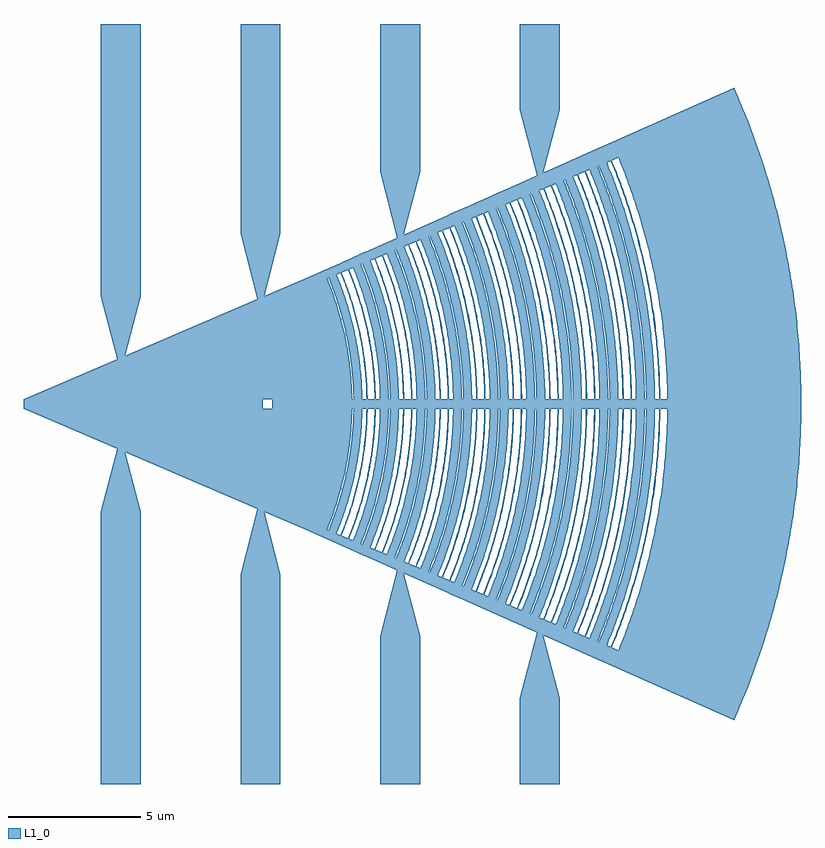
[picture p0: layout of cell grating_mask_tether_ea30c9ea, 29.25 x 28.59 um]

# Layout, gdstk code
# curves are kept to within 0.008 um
import gdstk
lib = gdstk.Library(unit=1e-6, precision=2e-09)
def R(c, l, rs):  # rectangles x0, y0, x1, y1
    for r in rs: c.add(gdstk.rectangle(r[:2], r[2:], *l))
def P(c, l, *ps):  # polygons
    for p in ps: c.add(gdstk.Polygon(p, *l))
L1_0 = (1, 0)

compass_size13p25__0p35_ = lib.new_cell('compass_size13p25__0p35_a60e96ef')
R(compass_size13p25__0p35_, L1_0, [(0,0,13.25,0.35)])

rectangle_size13p25__0p3 = lib.new_cell('rectangle_size13p25__0p35')
rectangle_size13p25__0p3.add(gdstk.Reference(compass_size13p25__0p35_, (0,0)))

boolean_14f7e336 = lib.new_cell('boolean_14f7e336')
P(boolean_14f7e336, L1_0, [(22.174,9.718),(22.5,8.938),(22.702,8.412),(23.068,7.348),(23.272,6.674),(23.456,5.994),(23.71,4.896),(23.934,3.648),(24.03,2.95),(24.092,2.39),(24.184,1.126),(24.204,0.564),(24.21,-0.14),(24.184,-1.126),(24.13,-1.97),(24.078,-2.53),(23.934,-3.648),(23.71,-4.896),(23.456,-5.994),(23.272,-6.674),(23.068,-7.348),(22.798,-8.148),(22.602,-8.676),(22.394,-9.2),(22.116,-9.846),(26.72,-11.896),(27.184,-10.8),(27.544,-9.844),(27.922,-8.714),(28.254,-7.57),(28.538,-6.414),(28.776,-5.246),(28.966,-4.07),(29.072,-3.226),(29.19,-1.87),(29.238,-0.85),(29.25,0.17),(29.226,1.19),(29.166,2.21),(29.124,2.718),(29.032,3.564),(28.89,4.576),(28.776,5.246),(28.646,5.914),(28.462,6.746),(28.254,7.57),(28.07,8.226),(27.766,9.2),(27.308,10.482),(27.056,11.114),(26.72,11.896),(22.116,9.846)],
  [(21.93,-9.612),(22.148,-9.098),(22.404,-8.45),(22.594,-7.928),(22.772,-7.4),(22.978,-6.734),(23.128,-6.198),(23.266,-5.658),(23.45,-4.842),(23.556,-4.294),(23.65,-3.746),(23.766,-2.918),(23.828,-2.364),(23.876,-1.81),(23.912,-1.254),(23.938,-0.558),(23.944,0.14),(23.93,0.836),(23.904,1.392),(23.876,1.81),(23.798,2.642),(23.73,3.194),(23.628,3.884),(23.478,4.706),(23.392,5.114),(23.266,5.658),(23.092,6.332),(22.938,6.868),(22.772,7.4),(22.594,7.928),(22.404,8.45),(22.148,9.098),(21.874,9.738),(21.838,9.722),(22.164,8.954),(22.366,8.436),(22.602,7.782),(22.818,7.122),(22.94,6.722),(23.09,6.186),(23.26,5.512),(23.382,4.97),(23.516,4.288),(23.61,3.74),(23.726,2.914),(23.788,2.36),(23.836,1.806),(23.872,1.252),(23.894,0.696),(23.904,0.14),(23.898,-0.556),(23.872,-1.252),(23.836,-1.806),(23.788,-2.36),(23.726,-2.914),(23.652,-3.464),(23.588,-3.876),(23.438,-4.698),(23.292,-5.378),(23.16,-5.918),(23.054,-6.322),(22.86,-6.988),(22.602,-7.782),(22.366,-8.436),(22.164,-8.954),(21.838,-9.722),(21.874,-9.738)],
  [(21.748,-9.532),(22.168,-8.51),(22.406,-7.862),(22.626,-7.206),(22.972,-6.012),(23.168,-5.206),(23.282,-4.666),(23.408,-3.988),(23.494,-3.442),(23.568,-2.894),(23.642,-2.208),(23.688,-1.656),(23.726,-0.966),(23.744,0.276),(23.726,0.966),(23.688,1.656),(23.568,2.894),(23.408,3.988),(23.168,5.206),(22.9,6.278),(22.748,6.81),(22.54,7.468),(22.168,8.51),(21.692,9.658),(21.39,9.524),(21.86,8.392),(22.14,7.624),(22.352,6.976),(22.546,6.324),(22.72,5.664),(22.904,4.868),(23.036,4.2),(23.188,3.258),(23.314,2.176),(23.376,1.362),(23.414,0.272),(23.406,-0.682),(23.338,-1.904),(23.224,-2.988),(23.06,-4.066),(22.932,-4.734),(22.784,-5.4),(22.618,-6.06),(22.432,-6.716),(22.184,-7.494),(21.956,-8.136),(21.71,-8.772),(21.39,-9.524),(21.692,-9.658)],
  [(21.398,-9.378),(21.86,-8.246),(22.262,-7.09),(22.602,-5.916),(22.734,-5.388),(22.908,-4.592),(23.032,-3.922),(23.136,-3.252),(23.262,-2.172),(23.316,-1.494),(23.344,-0.952),(23.362,0.272),(23.316,1.494),(23.22,2.578),(23.076,3.654),(22.96,4.324),(22.824,4.99),(22.702,5.52),(22.532,6.178),(22.22,7.22),(21.812,8.372),(21.558,9.004),(21.342,9.502),(21.042,9.368),(21.306,8.752),(21.598,8.004),(21.822,7.372),(22.066,6.606),(22.248,5.962),(22.412,5.312),(22.558,4.658),(22.66,4.132),(22.79,3.338),(22.878,2.674),(22.934,2.14),(23.002,1.206),(23.032,0.268),(23.024,-0.67),(22.968,-1.74),(22.862,-2.806),(22.706,-3.868),(22.558,-4.658),(22.412,-5.312),(22.248,-5.962),(22.066,-6.606),(21.822,-7.372),(21.598,-8.004),(21.306,-8.752),(21.042,-9.368),(21.342,-9.502)],
  [(20.95,-9.182),(21.158,-8.692),(21.402,-8.072),(21.628,-7.446),(21.796,-6.942),(21.988,-6.304),(22.128,-5.792),(22.258,-5.276),(22.402,-4.626),(22.55,-3.84),(22.632,-3.316),(22.704,-2.788),(22.762,-2.258),(22.828,-1.462),(22.85,-1.064),(22.868,-0.532),(22.874,0.134),(22.86,0.798),(22.828,1.462),(22.786,1.994),(22.72,2.656),(22.652,3.184),(22.55,3.84),(22.428,4.496),(22.318,5.016),(22.194,5.534),(22.06,6.048),(21.836,6.814),(21.67,7.322),(21.494,7.824),(21.258,8.446),(21.056,8.938),(20.896,9.304),(20.86,9.288),(21.122,8.676),(21.318,8.182),(21.59,7.434),(21.836,6.676),(21.95,6.294),(22.124,5.652),(22.278,5.008),(22.362,4.618),(22.464,4.096),(22.574,3.44),(22.648,2.914),(22.722,2.254),(22.758,1.858),(22.796,1.328),(22.82,0.796),(22.834,0.132),(22.828,-0.532),(22.81,-1.062),(22.788,-1.46),(22.722,-2.254),(22.648,-2.914),(22.574,-3.44),(22.464,-4.096),(22.362,-4.618),(22.278,-5.008),(22.124,-5.652),(22.022,-6.038),(21.836,-6.676),(21.59,-7.434),(21.318,-8.182),(21.122,-8.676),(20.86,-9.288),(20.896,-9.304)],
  [(20.67,-9.06),(20.876,-8.576),(21.116,-7.966),(21.296,-7.472),(21.544,-6.724),(21.73,-6.094),(21.866,-5.588),(21.99,-5.076),(22.102,-4.564),(22.226,-3.918),(22.33,-3.27),(22.416,-2.62),(22.458,-2.228),(22.504,-1.706),(22.538,-1.182),(22.562,-0.526),(22.568,0.132),(22.55,0.918),(22.522,1.444),(22.494,1.836),(22.416,2.62),(22.33,3.27),(22.27,3.66),(22.154,4.306),(22.048,4.82),(21.93,5.332),(21.8,5.842),(21.658,6.346),(21.464,6.974),(21.296,7.472),(21.07,8.088),(20.876,8.576),(20.618,9.18),(20.58,9.164),(20.788,8.682),(21.032,8.074),(21.258,7.458),(21.506,6.712),(21.656,6.21),(21.794,5.704),(21.92,5.196),(22.036,4.684),(22.114,4.298),(22.23,3.654),(22.29,3.264),(22.376,2.616),(22.454,1.832),(22.498,1.18),(22.522,0.524),(22.528,0.132),(22.522,-0.524),(22.498,-1.18),(22.474,-1.572),(22.418,-2.224),(22.376,-2.616),(22.29,-3.264),(22.186,-3.912),(22.088,-4.428),(21.98,-4.94),(21.794,-5.704),(21.692,-6.084),(21.506,-6.712),(21.258,-7.458),(21.032,-8.074),(20.788,-8.682),(20.58,-9.164),(20.618,-9.18)],
  [(20.488,-8.98),(20.692,-8.5),(20.976,-7.772),(21.354,-6.664),(21.64,-5.664),(21.88,-4.65),(22.094,-3.5),(22.17,-2.984),(22.26,-2.208),(22.332,-1.3),(22.36,-0.65),(22.37,0),(22.36,0.65),(22.332,1.3),(22.26,2.208),(22.17,2.984),(22.094,3.5),(21.88,4.65),(21.736,5.286),(21.572,5.916),(21.43,6.416),(21.234,7.036),(20.884,8.016),(20.436,9.098),(20.134,8.964),(20.386,8.374),(20.666,7.658),(20.88,7.054),(21.076,6.444),(21.22,5.952),(21.416,5.208),(21.558,4.582),(21.682,3.954),(21.842,2.94),(21.956,1.92),(22.016,1.026),(22.04,0),(22.016,-1.026),(21.932,-2.176),(21.788,-3.322),(21.682,-3.954),(21.558,-4.582),(21.322,-5.58),(21,-6.688),(20.754,-7.418),(20.576,-7.898),(20.134,-8.964),(20.436,-9.098)],
  [(20.138,-8.826),(20.526,-7.88),(20.872,-6.916),(21.064,-6.306),(21.238,-5.69),(21.506,-4.572),(21.584,-4.196),(21.736,-3.314),(21.88,-2.172),(21.964,-1.024),(21.988,0),(21.964,1.024),(21.88,2.172),(21.736,3.314),(21.584,4.196),(21.48,4.696),(21.238,5.69),(21.064,6.306),(20.872,6.916),(20.662,7.52),(20.434,8.118),(20.086,8.942),(19.784,8.808),(20.174,7.878),(20.394,7.288),(20.598,6.692),(20.748,6.212),(20.952,5.484),(21.158,4.626),(21.35,3.636),(21.496,2.64),(21.596,1.636),(21.634,1.008),(21.656,0.252),(21.652,-0.504),(21.634,-1.008),(21.552,-2.138),(21.41,-3.264),(21.21,-4.38),(20.952,-5.484),(20.748,-6.212),(20.598,-6.692),(20.394,-7.288),(20.174,-7.878),(19.784,-8.808),(20.086,-8.942)],
  [(19.69,-8.63),(19.886,-8.17),(20.026,-7.82),(20.244,-7.236),(20.446,-6.644),(20.666,-5.926),(20.798,-5.444),(20.948,-4.836),(21.054,-4.348),(21.172,-3.734),(21.272,-3.116),(21.338,-2.62),(21.394,-2.122),(21.446,-1.5),(21.48,-0.876),(21.49,-0.626),(21.498,0.126),(21.49,0.626),(21.462,1.25),(21.394,2.122),(21.338,2.62),(21.234,3.362),(21.104,4.102),(21.002,4.592),(20.89,5.08),(20.766,5.564),(20.666,5.926),(20.446,6.644),(20.244,7.236),(20.026,7.82),(19.79,8.4),(19.64,8.744),(19.602,8.728),(19.896,8.038),(20.078,7.574),(20.33,6.868),(20.484,6.394),(20.694,5.674),(20.79,5.312),(20.88,4.948),(20.99,4.462),(21.088,3.972),(21.154,3.604),(21.25,2.986),(21.328,2.368),(21.366,1.994),(21.422,1.248),(21.452,0.5),(21.458,0.124),(21.452,-0.5),(21.44,-0.874),(21.406,-1.496),(21.366,-1.994),(21.328,-2.368),(21.232,-3.11),(21.154,-3.604),(21.04,-4.216),(20.936,-4.706),(20.79,-5.312),(20.694,-5.674),(20.484,-6.394),(20.33,-6.868),(20.078,-7.574),(19.896,-8.038),(19.602,-8.728),(19.64,-8.744)],
  [(19.41,-8.506),(19.65,-7.938),(19.828,-7.48),(19.998,-7.016),(20.156,-6.548),(20.372,-5.842),(20.47,-5.486),(20.622,-4.888),(20.73,-4.406),(20.826,-3.922),(20.932,-3.316),(21.002,-2.828),(21.076,-2.216),(21.132,-1.602),(21.164,-1.11),(21.19,-0.37),(21.192,0.124),(21.184,0.616),(21.164,1.11),(21.132,1.602),(21.076,2.216),(21.002,2.828),(20.932,3.316),(20.826,3.922),(20.73,4.406),(20.622,4.888),(20.47,5.486),(20.372,5.842),(20.156,6.548),(19.998,7.016),(19.74,7.71),(19.556,8.166),(19.36,8.62),(19.324,8.604),(19.566,8.038),(19.748,7.58),(19.96,7.002),(20.192,6.302),(20.4,5.594),(20.494,5.236),(20.638,4.638),(20.716,4.278),(20.81,3.794),(20.892,3.308),(20.964,2.822),(21.024,2.334),(21.072,1.844),(21.124,1.106),(21.144,0.616),(21.152,0.124),(21.144,-0.616),(21.124,-1.106),(21.072,-1.844),(21.024,-2.334),(20.964,-2.822),(20.892,-3.308),(20.81,-3.794),(20.716,-4.278),(20.638,-4.638),(20.494,-5.236),(20.4,-5.594),(20.192,-6.302),(19.96,-7.002),(19.748,-7.58),(19.566,-8.038),(19.324,-8.604),(19.36,-8.62)],
  [(19.228,-8.426),(19.418,-7.978),(19.686,-7.294),(20.004,-6.372),(20.31,-5.316),(20.56,-4.246),(20.716,-3.404),(20.866,-2.316),(20.958,-1.22),(20.988,-0.488),(20.994,0),(20.988,0.488),(20.958,1.22),(20.866,2.316),(20.716,3.404),(20.56,4.246),(20.31,5.316),(20.004,6.372),(19.642,7.41),(19.372,8.09),(19.178,8.538),(18.876,8.404),(19.248,7.518),(19.418,7.068),(19.652,6.386),(19.96,5.348),(20.212,4.296),(20.39,3.352),(20.538,2.28),(20.622,1.322),(20.658,0.48),(20.664,0),(20.658,-0.48),(20.622,-1.322),(20.538,-2.28),(20.39,-3.352),(20.212,-4.296),(19.96,-5.348),(19.652,-6.386),(19.418,-7.068),(19.248,-7.518),(18.876,-8.404),(19.178,-8.538)],
  [(18.878,-8.274),(19.242,-7.386),(19.64,-6.254),(19.94,-5.218),(20.186,-4.168),(20.358,-3.224),(20.486,-2.274),(20.576,-1.198),(20.606,-0.48),(20.612,0),(20.606,0.48),(20.576,1.198),(20.486,2.274),(20.358,3.224),(20.186,4.168),(19.94,5.218),(19.64,6.254),(19.242,7.386),(18.83,8.384),(18.528,8.25),(18.892,7.378),(19.252,6.38),(19.56,5.364),(19.814,4.332),(19.994,3.406),(20.158,2.238),(20.224,1.532),(20.254,1.062),(20.282,0),(20.254,-1.062),(20.224,-1.532),(20.158,-2.238),(19.994,-3.406),(19.814,-4.332),(19.56,-5.364),(19.252,-6.38),(18.892,-7.378),(18.528,-8.25),(18.83,-8.384)],
  [(18.43,-8.078),(18.568,-7.754),(18.828,-7.102),(19.026,-6.552),(19.244,-5.884),(19.406,-5.322),(19.496,-4.982),(19.658,-4.298),(19.73,-3.954),(19.796,-3.61),(19.91,-2.916),(20,-2.22),(20.036,-1.87),(20.074,-1.404),(20.106,-0.82),(20.12,-0.352),(20.122,0.118),(20.114,0.586),(20.088,1.17),(20.056,1.638),(20,2.22),(19.958,2.568),(19.856,3.264),(19.752,3.84),(19.658,4.298),(19.496,4.982),(19.406,5.322),(19.244,5.884),(19.138,6.218),(18.988,6.662),(18.786,7.212),(18.568,7.754),(18.382,8.184),(18.346,8.168),(18.532,7.74),(18.79,7.088),(18.95,6.648),(19.136,6.094),(19.272,5.648),(19.458,4.972),(19.644,4.176),(19.736,3.718),(19.798,3.372),(19.87,2.91),(19.96,2.216),(20.016,1.634),(20.048,1.168),(20.074,0.584),(20.082,0.116),(20.08,-0.35),(20.066,-0.818),(20.034,-1.4),(19.996,-1.866),(19.96,-2.216),(19.87,-2.91),(19.798,-3.372),(19.714,-3.832),(19.644,-4.176),(19.514,-4.744),(19.398,-5.198),(19.272,-5.648),(19.1,-6.206),(18.872,-6.868),(18.576,-7.632),(18.346,-8.168),(18.382,-8.184)],
  [(18.15,-7.954),(18.374,-7.424),(18.542,-6.994),(18.7,-6.56),(18.882,-6.014),(18.984,-5.684),(19.142,-5.128),(19.256,-4.682),(19.384,-4.12),(19.496,-3.554),(19.608,-2.872),(19.654,-2.53),(19.72,-1.956),(19.76,-1.498),(19.796,-0.922),(19.812,-0.462),(19.816,0.23),(19.796,0.922),(19.776,1.268),(19.74,1.728),(19.696,2.186),(19.64,2.644),(19.536,3.328),(19.452,3.782),(19.36,4.232),(19.256,4.682),(19.112,5.24),(18.984,5.684),(18.81,6.234),(18.7,6.56),(18.542,6.994),(18.374,7.424),(18.104,8.06),(18.066,8.044),(18.38,7.302),(18.504,6.98),(18.662,6.548),(18.844,6.002),(19.01,5.452),(19.132,5.008),(19.244,4.56),(19.368,4),(19.456,3.548),(19.514,3.208),(19.6,2.638),(19.656,2.182),(19.702,1.724),(19.736,1.264),(19.76,0.806),(19.776,0.23),(19.776,-0.23),(19.76,-0.806),(19.736,-1.264),(19.702,-1.724),(19.656,-2.182),(19.568,-2.866),(19.456,-3.548),(19.368,-4),(19.244,-4.56),(19.132,-5.008),(18.946,-5.672),(18.736,-6.33),(18.504,-6.98),(18.38,-7.302),(18.066,-8.044),(18.104,-8.06)],
  [(17.968,-7.874),(18.356,-6.924),(18.692,-5.954),(18.95,-5.078),(19.14,-4.302),(19.258,-3.744),(19.394,-2.956),(19.522,-1.936),(19.562,-1.482),(19.602,-0.798),(19.618,0.114),(19.578,1.254),(19.498,2.164),(19.358,3.182),(19.258,3.744),(19.14,4.302),(18.92,5.188),(18.658,6.062),(18.356,6.924),(17.922,7.98),(17.62,7.844),(18.046,6.808),(18.344,5.96),(18.63,4.992),(18.866,4.01),(19.05,3.018),(19.17,2.128),(19.248,1.234),(19.28,0.562),(19.288,0.112),(19.272,-0.786),(19.194,-1.904),(19.068,-2.906),(18.866,-4.01),(18.63,-4.992),(18.344,-5.96),(18.046,-6.808),(17.62,-7.844),(17.922,-7.98)],
  [(17.618,-7.722),(17.998,-6.788),(18.328,-5.838),(18.58,-4.978),(18.838,-3.89),(19.016,-2.898),(19.142,-1.9),(19.22,-0.784),(19.236,0),(19.228,0.56),(19.196,1.23),(19.106,2.234),(18.944,3.34),(18.792,4.108),(18.58,4.978),(18.294,5.944),(17.958,6.894),(17.572,7.824),(17.27,7.69),(17.65,6.776),(17.946,5.946),(18.112,5.422),(18.262,4.892),(18.47,4.038),(18.656,3.066),(18.79,2.086),(18.874,1.1),(18.906,0.11),(18.88,-0.99),(18.802,-1.976),(18.656,-3.066),(18.47,-4.038),(18.262,-4.892),(18.112,-5.422),(17.946,-5.946),(17.65,-6.776),(17.27,-7.69),(17.572,-7.824)],
  [(17.17,-7.526),(17.382,-7.022),(17.502,-6.718),(17.726,-6.104),(17.896,-5.586),(18.02,-5.168),(18.136,-4.746),(18.242,-4.324),(18.36,-3.79),(18.462,-3.256),(18.516,-2.932),(18.62,-2.176),(18.666,-1.742),(18.708,-1.198),(18.726,-0.872),(18.744,-0.328),(18.746,0.218),(18.726,0.872),(18.708,1.198),(18.676,1.634),(18.62,2.176),(18.564,2.608),(18.462,3.256),(18.314,4.004),(18.242,4.324),(18.08,4.958),(17.862,5.69),(17.726,6.104),(17.502,6.718),(17.34,7.124),(17.126,7.624),(17.09,7.608),(17.304,7.108),(17.464,6.704),(17.652,6.194),(17.824,5.678),(18.012,5.052),(18.124,4.632),(18.298,3.89),(18.422,3.248),(18.476,2.926),(18.54,2.496),(18.58,2.172),(18.636,1.63),(18.668,1.196),(18.686,0.87),(18.706,0.218),(18.702,-0.436),(18.686,-0.87),(18.668,-1.196),(18.626,-1.738),(18.54,-2.496),(18.44,-3.142),(18.342,-3.676),(18.252,-4.102),(18.124,-4.632),(18.012,-5.052),(17.92,-5.366),(17.824,-5.678),(17.616,-6.296),(17.464,-6.704),(17.304,-7.108),(17.09,-7.608),(17.126,-7.624)],
  [(16.89,-7.402),(17.058,-7.008),(17.292,-6.408),(17.436,-6.004),(17.604,-5.494),(17.756,-4.98),(17.84,-4.67),(17.944,-4.252),(18.06,-3.728),(18.142,-3.308),(18.214,-2.884),(18.304,-2.248),(18.34,-1.928),(18.38,-1.5),(18.416,-0.966),(18.436,-0.43),(18.44,0.214),(18.426,0.75),(18.396,1.286),(18.34,1.928),(18.304,2.248),(18.214,2.884),(18.142,3.308),(18.016,3.938),(17.918,4.358),(17.756,4.98),(17.538,5.698),(17.4,6.106),(17.216,6.608),(17.058,7.008),(16.846,7.5),(16.81,7.484),(16.98,7.09),(17.14,6.694),(17.328,6.192),(17.5,5.686),(17.628,5.278),(17.746,4.866),(17.88,4.348),(17.976,3.93),(18.042,3.616),(18.14,3.09),(18.222,2.56),(18.264,2.242),(18.3,1.924),(18.356,1.284),(18.386,0.75),(18.4,0.214),(18.4,-0.214),(18.39,-0.642),(18.37,-1.07),(18.34,-1.498),(18.3,-1.924),(18.222,-2.56),(18.14,-3.09),(18.042,-3.616),(17.88,-4.348),(17.746,-4.866),(17.628,-5.278),(17.432,-5.89),(17.254,-6.394),(17.02,-6.992),(16.81,-7.484),(16.846,-7.5)],
  [(16.708,-7.322),(17.068,-6.438),(17.382,-5.536),(17.648,-4.618),(17.886,-3.584),(18.034,-2.748),(18.142,-1.906),(18.182,-1.484),(18.222,-0.848),(18.242,0.106),(18.198,1.272),(18.106,2.224),(17.946,3.272),(17.798,4),(17.564,4.926),(17.316,5.738),(17.03,6.538),(16.664,7.42),(16.362,7.286),(16.646,6.614),(16.97,5.732),(17.218,4.938),(17.476,3.928),(17.622,3.212),(17.692,2.802),(17.814,1.872),(17.888,0.938),(17.912,0.104),(17.888,-0.938),(17.814,-1.872),(17.708,-2.7),(17.542,-3.622),(17.302,-4.636),(17.066,-5.436),(16.76,-6.322),(16.362,-7.286),(16.664,-7.42)],
  [(16.358,-7.17),(16.674,-6.4),(17.018,-5.42),(17.278,-4.522),(17.47,-3.714),(17.624,-2.896),(17.762,-1.866),(17.836,-0.934),(17.86,0.104),(17.836,0.934),(17.762,1.866),(17.624,2.896),(17.47,3.714),(17.278,4.522),(17.018,5.42),(16.674,6.4),(16.316,7.264),(16.014,7.13),(16.366,6.282),(16.672,5.416),(16.906,4.636),(17.034,4.142),(17.168,3.544),(17.33,2.642),(17.434,1.832),(17.506,0.918),(17.53,0.102),(17.506,-0.918),(17.434,-1.832),(17.33,-2.642),(17.168,-3.544),(17.034,-4.142),(16.906,-4.636),(16.672,-5.416),(16.366,-6.282),(16.014,-7.13),(16.316,-7.264)],
  [(15.91,-6.972),(16.144,-6.414),(16.288,-6.036),(16.392,-5.75),(16.552,-5.272),(16.67,-4.886),(16.83,-4.3),(16.926,-3.908),(17.032,-3.414),(17.124,-2.916),(17.188,-2.518),(17.254,-2.016),(17.296,-1.614),(17.336,-1.11),(17.352,-0.808),(17.37,-0.202),(17.37,0.202),(17.364,0.506),(17.336,1.11),(17.296,1.614),(17.254,2.016),(17.188,2.518),(17.124,2.916),(17.052,3.314),(16.97,3.71),(16.83,4.3),(16.752,4.594),(16.552,5.272),(16.392,5.75),(16.216,6.226),(16.068,6.6),(15.868,7.066),(15.832,7.048),(16.03,6.586),(16.216,6.116),(16.354,5.738),(16.514,5.26),(16.632,4.874),(16.792,4.29),(16.952,3.604),(17.032,3.208),(17.118,2.712),(17.214,2.012),(17.256,1.61),(17.302,1.008),(17.324,0.504),(17.33,0.202),(17.33,-0.202),(17.312,-0.806),(17.302,-1.008),(17.256,-1.61),(17.214,-2.012),(17.148,-2.512),(17.032,-3.208),(16.952,-3.604),(16.864,-3.996),(16.792,-4.29),(16.632,-4.874),(16.514,-5.26),(16.286,-5.928),(16.03,-6.586),(15.832,-7.048),(15.868,-7.066)],
  [(15.63,-6.85),(15.86,-6.3),(16.002,-5.93),(16.168,-5.462),(16.32,-4.99),(16.458,-4.512),(16.582,-4.032),(16.65,-3.742),(16.752,-3.256),(16.87,-2.572),(16.926,-2.178),(17,-1.488),(17.042,-0.894),(17.058,-0.496),(17.064,0.198),(17.042,0.894),(17.024,1.19),(16.982,1.684),(16.95,1.982),(16.87,2.572),(16.806,2.964),(16.752,3.256),(16.65,3.742),(16.582,4.032),(16.458,4.512),(16.32,4.99),(16.168,5.462),(15.932,6.116),(15.67,6.76),(15.59,6.94),(15.552,6.924),(15.748,6.47),(15.93,6.008),(16.098,5.542),(16.252,5.072),(16.366,4.692),(16.47,4.31),(16.632,3.636),(16.712,3.248),(16.8,2.762),(16.91,1.976),(16.942,1.68),(16.984,1.188),(17.01,0.694),(17.024,0.198),(17.018,-0.496),(17.002,-0.89),(16.96,-1.484),(16.886,-2.174),(16.816,-2.664),(16.712,-3.248),(16.566,-3.926),(16.47,-4.31),(16.31,-4.882),(16.13,-5.448),(15.93,-6.008),(15.748,-6.47),(15.552,-6.924),(15.59,-6.94)],
  [(15.448,-6.77),(15.746,-6.044),(16.1,-5.024),(16.316,-4.27),(16.518,-3.41),(16.674,-2.542),(16.784,-1.666),(16.848,-0.784),(16.866,0.098),(16.838,0.98),(16.774,1.762),(16.674,2.542),(16.498,3.506),(16.266,4.46),(16.01,5.306),(15.746,6.044),(15.408,6.86),(15.106,6.726),(15.438,5.926),(15.696,5.202),(15.922,4.466),(16.134,3.626),(16.232,3.156),(16.332,2.586),(16.446,1.728),(16.514,0.866),(16.536,0.096),(16.514,-0.866),(16.446,-1.728),(16.362,-2.396),(16.214,-3.25),(16.09,-3.814),(15.972,-4.28),(15.756,-5.018),(15.438,-5.926),(15.106,-6.726),(15.408,-6.86)],
  [(15.098,-6.616),(15.32,-6.086),(15.49,-5.638),(15.736,-4.912),(15.922,-4.266),(16.124,-3.428),(16.296,-2.484),(16.404,-1.628),(16.462,-0.862),(16.484,0.096),(16.462,0.862),(16.394,1.724),(16.266,2.674),(16.124,3.428),(15.922,4.266),(15.736,4.912),(15.554,5.458),(15.388,5.908),(15.058,6.704),(14.758,6.57),(15.114,5.702),(15.364,4.992),(15.628,4.09),(15.82,3.266),(15.97,2.434),(16.066,1.688),(16.132,0.846),(16.154,0.094),(16.132,-0.846),(16.066,-1.688),(15.97,-2.434),(15.82,-3.266),(15.628,-4.09),(15.364,-4.992),(15.114,-5.702),(14.758,-6.57),(15.058,-6.704)],
  [(14.65,-6.42),(14.76,-6.164),(14.966,-5.646),(15.124,-5.208),(15.212,-4.942),(15.35,-4.498),(15.426,-4.23),(15.542,-3.78),(15.646,-3.326),(15.736,-2.87),(15.798,-2.502),(15.852,-2.134),(15.908,-1.672),(15.95,-1.208),(15.978,-0.744),(15.994,-0.186),(15.994,0.186),(15.986,0.558),(15.968,0.93),(15.95,1.208),(15.898,1.764),(15.852,2.134),(15.798,2.502),(15.736,2.87),(15.646,3.326),(15.542,3.78),(15.426,4.23),(15.35,4.498),(15.212,4.942),(15.124,5.208),(14.966,5.646),(14.76,6.164),(14.612,6.506),(14.576,6.49),(14.758,6.062),(14.928,5.63),(15.086,5.194),(15.23,4.754),(15.362,4.308),(15.458,3.95),(15.606,3.318),(15.662,3.044),(15.744,2.588),(15.8,2.22),(15.858,1.76),(15.902,1.298),(15.928,0.928),(15.942,0.65),(15.954,0.186),(15.954,-0.186),(15.942,-0.65),(15.916,-1.112),(15.886,-1.484),(15.858,-1.76),(15.8,-2.22),(15.744,-2.588),(15.644,-3.136),(15.546,-3.588),(15.458,-3.95),(15.362,-4.308),(15.258,-4.664),(15.086,-5.194),(14.928,-5.63),(14.758,-6.062),(14.576,-6.49),(14.612,-6.506)],
  [(14.37,-6.298),(14.478,-6.046),(14.68,-5.538),(14.922,-4.848),(15.082,-4.324),(15.178,-3.972),(15.308,-3.44),(15.384,-3.084),(15.482,-2.544),(15.524,-2.274),(15.594,-1.73),(15.63,-1.368),(15.668,-0.822),(15.68,-0.548),(15.688,0.182),(15.668,0.822),(15.63,1.368),(15.594,1.73),(15.524,2.274),(15.482,2.544),(15.384,3.084),(15.308,3.44),(15.178,3.972),(15.082,4.324),(14.922,4.848),(14.68,5.538),(14.478,6.046),(14.332,6.382),(14.296,6.364),(14.476,5.946),(14.706,5.352),(14.826,5.008),(14.992,4.488),(15.162,3.874),(15.248,3.52),(15.326,3.164),(15.442,2.538),(15.484,2.268),(15.564,1.636),(15.59,1.364),(15.628,0.82),(15.648,0.182),(15.648,-0.182),(15.64,-0.546),(15.628,-0.82),(15.582,-1.454),(15.544,-1.816),(15.484,-2.268),(15.412,-2.718),(15.362,-2.986),(15.206,-3.698),(15.116,-4.05),(14.992,-4.488),(14.826,-5.008),(14.706,-5.352),(14.476,-5.946),(14.296,-6.364),(14.332,-6.382)],
  [(14.188,-6.218),(14.462,-5.552),(14.76,-4.7),(14.986,-3.922),(15.152,-3.22),(15.3,-2.424),(15.406,-1.62),(15.474,-0.72),(15.49,0.09),(15.474,0.72),(15.406,1.62),(15.3,2.424),(15.152,3.22),(14.986,3.922),(14.76,4.7),(14.462,5.552),(14.15,6.3),(13.85,6.166),(14.122,5.516),(14.418,4.684),(14.644,3.924),(14.81,3.238),(14.96,2.458),(15.068,1.672),(15.14,0.794),(15.16,0.088),(15.14,-0.794),(15.068,-1.672),(14.96,-2.458),(14.81,-3.238),(14.644,-3.924),(14.418,-4.684),(14.122,-5.516),(13.85,-6.166),(14.15,-6.3)],
  [(13.838,-6.064),(14.136,-5.332),(14.396,-4.584),(14.616,-3.826),(14.796,-3.056),(14.936,-2.276),(15.034,-1.492),(15.088,-0.79),(15.108,0.088),(15.088,0.79),(15.016,1.666),(14.894,2.536),(14.76,3.228),(14.616,3.826),(14.396,4.584),(14.136,5.332),(13.802,6.144),(13.5,6.01),(13.766,5.376),(14.028,4.648),(14.206,4.074),(14.4,3.324),(14.554,2.566),(14.668,1.802),(14.748,0.946),(14.778,0.086),(14.758,-0.774),(14.706,-1.46),(14.622,-2.142),(14.49,-2.904),(14.296,-3.742),(14.182,-4.156),(14.028,-4.648),(13.766,-5.376),(13.5,-6.01),(13.802,-6.144)],
  [(13.39,-5.868),(13.618,-5.318),(13.738,-5),(13.904,-4.518),(14.076,-3.948),(14.164,-3.62),(14.3,-3.04),(14.426,-2.37),(14.5,-1.866),(14.548,-1.444),(14.578,-1.104),(14.604,-0.68),(14.618,-0.17),(14.618,0.17),(14.604,0.68),(14.584,1.02),(14.548,1.444),(14.52,1.698),(14.412,2.454),(14.334,2.872),(14.264,3.206),(14.164,3.62),(14.076,3.948),(13.904,4.518),(13.738,5),(13.618,5.318),(13.49,5.634),(13.354,5.946),(13.318,5.93),(13.518,5.462),(13.7,4.986),(13.866,4.506),(13.942,4.262),(14.104,3.692),(14.206,3.28),(14.278,2.948),(14.4,2.28),(14.49,1.608),(14.544,1.018),(14.57,0.508),(14.578,0.17),(14.578,-0.17),(14.57,-0.508),(14.544,-1.018),(14.508,-1.44),(14.46,-1.86),(14.4,-2.28),(14.278,-2.948),(14.206,-3.28),(14.104,-3.692),(13.942,-4.262),(13.866,-4.506),(13.7,-4.986),(13.518,-5.462),(13.318,-5.93),(13.354,-5.946)],
  [(13.11,-5.746),(13.24,-5.438),(13.422,-4.974),(13.534,-4.66),(13.664,-4.264),(13.782,-3.866),(13.868,-3.544),(14.018,-2.894),(14.096,-2.486),(14.15,-2.156),(14.186,-1.91),(14.244,-1.414),(14.294,-0.75),(14.31,-0.334),(14.314,0),(14.31,0.334),(14.294,0.75),(14.244,1.414),(14.186,1.91),(14.15,2.156),(14.096,2.486),(14.018,2.894),(13.868,3.544),(13.782,3.866),(13.664,4.264),(13.534,4.66),(13.422,4.974),(13.24,5.438),(13.076,5.822),(13.04,5.806),(13.234,5.346),(13.384,4.96),(13.496,4.646),(13.65,4.174),(13.808,3.614),(13.944,3.048),(14.042,2.56),(14.098,2.232),(14.146,1.904),(14.186,1.574),(14.212,1.326),(14.244,0.912),(14.262,0.582),(14.272,0.166),(14.27,-0.332),(14.262,-0.582),(14.244,-0.912),(14.212,-1.326),(14.146,-1.904),(14.098,-2.232),(14.01,-2.724),(13.888,-3.292),(13.808,-3.614),(13.674,-4.094),(13.496,-4.646),(13.384,-4.96),(13.234,-5.346),(13.04,-5.806),(13.076,-5.822)],
  [(12.928,-5.666),(13.206,-4.982),(13.424,-4.362),(13.634,-3.652),(13.806,-2.934),(13.928,-2.29),(14.046,-1.394),(14.106,-0.492),(14.114,0.164),(14.086,0.902),(14.028,1.558),(13.928,2.29),(13.806,2.934),(13.634,3.652),(13.424,4.362),(13.206,4.982),(12.894,5.74),(12.592,5.606),(12.84,5.014),(13.11,4.26),(13.294,3.644),(13.466,2.944),(13.602,2.236),(13.682,1.68),(13.756,0.882),(13.784,0.16),(13.77,-0.642),(13.732,-1.202),(13.65,-1.918),(13.5,-2.788),(13.294,-3.644),(13.11,-4.26),(12.84,-5.014),(12.592,-5.606),(12.894,-5.74)],
  [(12.576,-5.512),(12.82,-4.922),(13.06,-4.244),(13.244,-3.632),(13.416,-2.934),(13.524,-2.384),(13.64,-1.594),(13.714,-0.718),(13.732,0.08),(13.714,0.718),(13.64,1.594),(13.524,2.384),(13.416,2.934),(13.244,3.632),(13.06,4.244),(12.82,4.922),(12.544,5.586),(12.244,5.452),(12.484,4.876),(12.722,4.216),(12.946,3.468),(13.11,2.786),(13.212,2.25),(13.312,1.556),(13.38,0.78),(13.402,0.078),(13.388,-0.624),(13.344,-1.246),(13.272,-1.866),(13.11,-2.786),(12.946,-3.468),(12.722,-4.216),(12.484,-4.876),(12.244,-5.452),(12.544,-5.586)],
  [(12.13,-5.316),(12.308,-4.89),(12.418,-4.602),(12.522,-4.312),(12.642,-3.946),(12.812,-3.354),(12.904,-2.978),(12.97,-2.678),(13.056,-2.224),(13.104,-1.92),(13.154,-1.538),(13.186,-1.23),(13.216,-0.846),(13.238,-0.386),(13.242,0.232),(13.232,0.54),(13.206,1),(13.154,1.538),(13.104,1.92),(13.056,2.224),(12.938,2.828),(12.85,3.204),(12.752,3.576),(12.57,4.166),(12.364,4.746),(12.25,5.032),(12.098,5.386),(12.062,5.37),(12.184,5.088),(12.354,4.66),(12.484,4.298),(12.604,3.934),(12.692,3.64),(12.792,3.268),(12.914,2.746),(13.016,2.218),(13.064,1.914),(13.114,1.532),(13.16,1.074),(13.176,0.844),(13.198,0.384),(13.202,0.154),(13.2,-0.308),(13.192,-0.538),(13.166,-0.998),(13.146,-1.228),(13.114,-1.532),(13.064,-1.914),(13.016,-2.218),(12.946,-2.594),(12.83,-3.12),(12.692,-3.64),(12.604,-3.934),(12.484,-4.298),(12.354,-4.66),(12.184,-5.088),(12.062,-5.37),(12.098,-5.386)],
  [(11.85,-5.194),(11.996,-4.846),(12.132,-4.496),(12.328,-3.926),(12.416,-3.638),(12.516,-3.276),(12.606,-2.91),(12.67,-2.616),(12.728,-2.32),(12.79,-1.95),(12.832,-1.652),(12.882,-1.202),(12.924,-0.602),(12.936,-0.226),(12.938,0.076),(12.92,0.678),(12.874,1.278),(12.832,1.652),(12.79,1.95),(12.728,2.32),(12.67,2.616),(12.606,2.91),(12.516,3.276),(12.416,3.638),(12.328,3.926),(12.132,4.496),(11.996,4.846),(11.818,5.262),(11.782,5.246),(11.93,4.9),(12.068,4.552),(12.17,4.27),(12.312,3.842),(12.458,3.338),(12.55,2.974),(12.616,2.682),(12.702,2.24),(12.75,1.944),(12.792,1.646),(12.842,1.198),(12.884,0.6),(12.898,0),(12.884,-0.6),(12.842,-1.198),(12.792,-1.646),(12.75,-1.944),(12.702,-2.24),(12.646,-2.534),(12.532,-3.048),(12.458,-3.338),(12.356,-3.698),(12.266,-3.986),(12.12,-4.412),(11.958,-4.832),(11.782,-5.246),(11.818,-5.262)],
  [(11.666,-5.114),(11.892,-4.566),(12.138,-3.866),(12.324,-3.226),(12.476,-2.576),(12.604,-1.846),(12.684,-1.184),(12.728,-0.518),(12.738,0.148),(12.728,0.518),(12.684,1.184),(12.604,1.846),(12.476,2.576),(12.324,3.226),(12.138,3.866),(11.892,4.566),(11.636,5.182),(11.336,5.046),(11.532,4.582),(11.756,3.972),(11.986,3.212),(12.138,2.58),(12.256,1.942),(12.348,1.226),(12.392,0.65),(12.408,0.144),(12.392,-0.65),(12.348,-1.226),(12.256,-1.942),(12.138,-2.58),(11.986,-3.212),(11.756,-3.972),(11.532,-4.582),(11.336,-5.046),(11.636,-5.182)],
  [(11.316,-4.96),(11.536,-4.428),(11.774,-3.75),(11.99,-2.99),(12.116,-2.428),(12.226,-1.79),(12.31,-1.076),(12.346,-0.504),(12.356,0.144),(12.316,1.006),(12.256,1.578),(12.156,2.216),(12.056,2.71),(11.936,3.198),(11.752,3.818),(11.51,4.496),(11.288,5.026),(0,0.176),(0,-0.176),(9,-0.176),(9,0.176),(9.35,0.176),(9.35,-0.176),(0,-0.176),(11.288,-5.026)])

ring_d1d62f96_transform_ = lib.new_cell('ring_d1d62f96_transform_d87d82d5')
P(ring_d1d62f96_transform_, L1_0, [(22.154,-9.176),(0,0),(22.154,-9.864)],
  [(22.154,-9.864),(22.404,-9.282),(22.154,-9.176)])

c_ring_d1d62f96_transform_ = lib.new_cell('ring_d1d62f96_transform_3501d09c')
P(c_ring_d1d62f96_transform_, L1_0, [(22.154,9.176),(22.154,9.864),(0,0)],
  [(22.404,9.28),(22.154,9.864),(22.154,9.176)])

c__tether_straight_length_ = lib.new_cell('_tether_straight_length_0c06aef3')
R(c__tether_straight_length_, L1_0, [(2.904,4.056,4.404,14.294)])
P(c__tether_straight_length_, L1_0, [(3.754,1.556),(4.404,4.056),(2.904,4.056),(3.554,1.556)])

c__tether_straight_length__ = lib.new_cell('_tether_straight_length_1978be66')
R(c__tether_straight_length__, L1_0, [(2.904,-14.294,4.404,-4.056)])
P(c__tether_straight_length__, L1_0, [(3.554,-1.556),(2.904,-4.056),(4.404,-4.056),(3.754,-1.556)])

c__tether_straight_length___ = lib.new_cell('_tether_straight_length_98482a6d')
R(c__tether_straight_length___, L1_0, [(8.156,6.396,9.656,14.294)])
P(c__tether_straight_length___, L1_0, [(9.006,3.896),(9.656,6.396),(8.156,6.396),(8.806,3.896)])

c__tether_straight_length____ = lib.new_cell('_tether_straight_length_6c890cbb')
R(c__tether_straight_length____, L1_0, [(8.156,-14.294,9.656,-6.396)])
P(c__tether_straight_length____, L1_0, [(8.806,-3.896),(8.156,-6.396),(9.656,-6.396),(9.006,-3.896)])

c__tether_straight_length_____ = lib.new_cell('_tether_straight_length_a353c7a9')
R(c__tether_straight_length_____, L1_0, [(13.41,8.734,14.91,14.294)])
P(c__tether_straight_length_____, L1_0, [(14.26,6.234),(14.91,8.734),(13.41,8.734),(14.06,6.234)])

c__tether_straight_length______ = lib.new_cell('_tether_straight_length_d036d236')
R(c__tether_straight_length______, L1_0, [(13.41,-14.294,14.91,-8.734)])
P(c__tether_straight_length______, L1_0, [(14.06,-6.234),(13.41,-8.734),(14.91,-8.734),(14.26,-6.234)])

c__tether_straight_length_______ = lib.new_cell('_tether_straight_length_c18f0411')
R(c__tether_straight_length_______, L1_0, [(18.662,11.074,20.162,14.294)])
P(c__tether_straight_length_______, L1_0, [(19.512,8.574),(20.162,11.074),(18.662,11.074),(19.312,8.574)])

c__tether_straight_length________ = lib.new_cell('_tether_straight_length_b38937c7')
R(c__tether_straight_length________, L1_0, [(18.662,-14.294,20.162,-11.074)])
P(c__tether_straight_length________, L1_0, [(19.312,-8.574),(18.662,-11.074),(20.162,-11.074),(19.512,-8.574)])

section_2skeleton_tethe_ = lib.new_cell('section_2skeleton_tethe_148daf7c')
section_2skeleton_tethe_.add(gdstk.Reference(ring_d1d62f96_transform_, (0,0)))
section_2skeleton_tethe_.add(gdstk.Reference(c_ring_d1d62f96_transform_, (0,0)))
section_2skeleton_tethe_.add(gdstk.Reference(c__tether_straight_length_, (0,0)))
section_2skeleton_tethe_.add(gdstk.Reference(c__tether_straight_length__, (0,0)))
section_2skeleton_tethe_.add(gdstk.Reference(c__tether_straight_length___, (0,0)))
section_2skeleton_tethe_.add(gdstk.Reference(c__tether_straight_length____, (0,0)))
section_2skeleton_tethe_.add(gdstk.Reference(c__tether_straight_length_____, (0,0)))
section_2skeleton_tethe_.add(gdstk.Reference(c__tether_straight_length______, (0,0)))
section_2skeleton_tethe_.add(gdstk.Reference(c__tether_straight_length_______, (0,0)))
section_2skeleton_tethe_.add(gdstk.Reference(c__tether_straight_length________, (0,0)))

grating_mask_tether_ea30 = lib.new_cell('grating_mask_tether_ea30c9ea')
grating_mask_tether_ea30.add(gdstk.Reference(rectangle_size13p25__0p3, (11,-0.174)))
grating_mask_tether_ea30.add(gdstk.Reference(boolean_14f7e336, (0,0)))
grating_mask_tether_ea30.add(gdstk.Reference(section_2skeleton_tethe_, (0,0)))

lib.write_gds('grating_mask_tether_ea30c9ea.gds')
